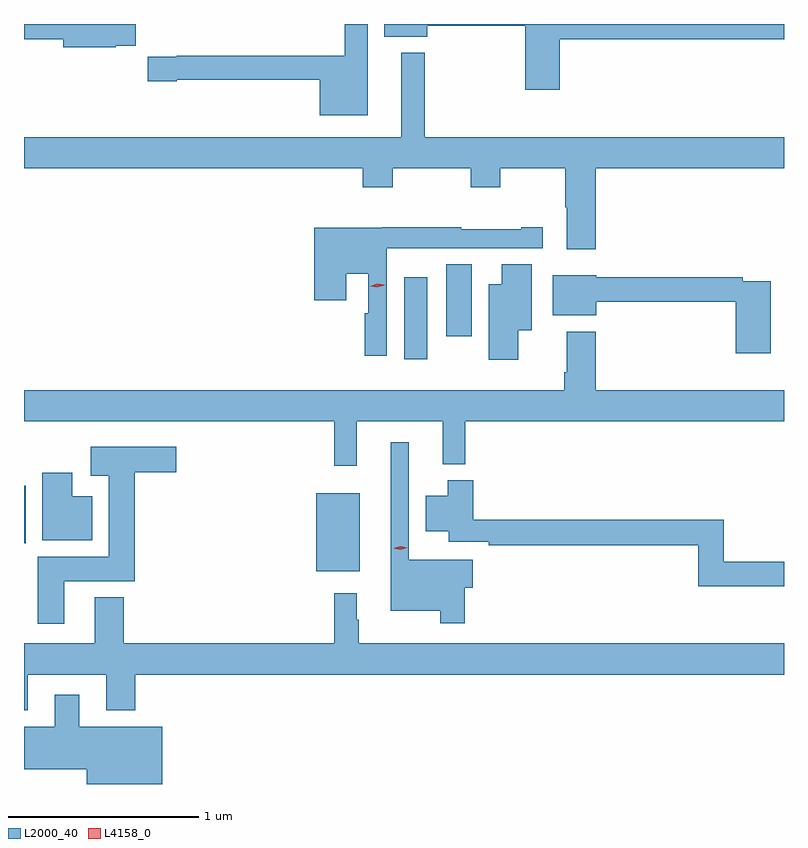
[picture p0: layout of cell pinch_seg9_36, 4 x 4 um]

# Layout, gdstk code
import gdstk
lib = gdstk.Library(unit=1e-6, precision=1e-09)
def R(c, l, rs):  # rectangles x0, y0, x1, y1
    for r in rs: c.add(gdstk.rectangle(r[:2], r[2:], *l))
def P(c, l, *ps):  # polygons
    for p in ps: c.add(gdstk.Polygon(p, *l))
L2000_40 = (2000, 40)
L4158_0 = (4158, 0)

pinch_seg9_36 = lib.new_cell('pinch_seg9_36')
R(pinch_seg9_36, L2000_40, [(911.486,1218.275,911.713,1218.685), (909.947,1218.422,909.955,1218.727), (911.948,1219.392,912.07,1219.822), (912.17,1219.512,912.304,1219.892)])
P(pinch_seg9_36, L2000_40, [(910.43,1221.042),(910.535,1221.042),(910.535,1221.156),(909.947,1221.156),(909.947,1221.076),(910.154,1221.076),(910.154,1221.034),(910.43,1221.034)],
  [(911.755,1221.156),(911.634,1221.156),(911.634,1220.99),(910.752,1220.99),(910.752,1220.984),(910.597,1220.984),(910.597,1220.854),(910.752,1220.854),(910.752,1220.862),(911.504,1220.862),(911.504,1220.675),(911.755,1220.675)],
  [(912.767,1221.076),(913.947,1221.076),(913.947,1221.156),(911.843,1221.156),(911.843,1221.089),(912.07,1221.089),(912.07,1221.148),(912.584,1221.148),(912.584,1220.811),(912.767,1220.811)],
  [(912.956,1220.396),(913.947,1220.396),(913.947,1220.56),(912.055,1220.56),(912.055,1221.004),(911.933,1221.004),(911.933,1220.56),(909.947,1220.56),(909.947,1220.396),(911.729,1220.396),(911.729,1220.297),(911.889,1220.297),(911.889,1220.396),(912.298,1220.396),(912.298,1220.297),(912.453,1220.297),(912.453,1220.396),(912.796,1220.396),(912.796,1220.192),(912.803,1220.192),(912.803,1219.971),(912.956,1219.971)],
  [(911.856,1219.976),(912.066,1219.976),(912.066,1219.977),(912.676,1219.977),(912.676,1220.086),(912.563,1220.086),(912.563,1220.076),(912.248,1220.076),(912.248,1220.086),(911.832,1220.086),(911.832,1220.083),(911.474,1220.083),(911.474,1219.701),(911.644,1219.701),(911.644,1219.841),(911.76,1219.841),(911.76,1219.634),(911.74,1219.634),(911.74,1219.41),(911.856,1219.41)],
  [(912.547,1219.544),(912.619,1219.544),(912.619,1219.892),(912.461,1219.892),(912.461,1219.786),(912.392,1219.786),(912.392,1219.389),(912.547,1219.389)],
  [(913.877,1219.803),(913.73,1219.803),(913.73,1219.823),(912.958,1219.823),(912.958,1219.834),(912.731,1219.834),(912.731,1219.622),(912.958,1219.622),(912.958,1219.695),(913.694,1219.695),(913.694,1219.422),(913.877,1219.422)],
  [(911.699,1219.064),(912.152,1219.064),(912.152,1218.839),(912.269,1218.839),(912.269,1219.064),(913.947,1219.064),(913.947,1219.228),(912.956,1219.228),(912.956,1219.537),(912.803,1219.537),(912.803,1219.324),(912.791,1219.324),(912.791,1219.228),(909.947,1219.228),(909.947,1219.064),(911.581,1219.064),(911.581,1218.831),(911.699,1218.831)],
  [(912.266,1218.19),(912.31,1218.19),(912.31,1218.337),(911.973,1218.337),(911.973,1218.955),(911.876,1218.955),(911.876,1218.068),(912.138,1218.068),(912.138,1218.003),(912.266,1218.003)],
  [(910.159,1218.224),(910.529,1218.224),(910.529,1218.797),(910.747,1218.797),(910.747,1218.931),(910.299,1218.931),(910.299,1218.779),(910.394,1218.779),(910.394,1218.352),(910.019,1218.352),(910.019,1218),(910.159,1218)],
  [(910.306,1218.67),(910.201,1218.67),(910.201,1218.793),(910.043,1218.793),(910.043,1218.44),(910.306,1218.44)],
  [(913.947,1218.326),(913.631,1218.326),(913.631,1218.548),(912.311,1218.548),(912.311,1218.754),(912.176,1218.754),(912.176,1218.673),(912.062,1218.673),(912.062,1218.485),(912.182,1218.485),(912.182,1218.432),(912.394,1218.432),(912.394,1218.412),(913.495,1218.412),(913.495,1218.198),(913.947,1218.198)],
  [(909.967,1217.732),(910.379,1217.732),(910.379,1217.543),(910.532,1217.543),(910.532,1217.732),(913.947,1217.732),(913.947,1217.896),(911.71,1217.896),(911.71,1218.02),(911.698,1218.02),(911.698,1218.16),(911.581,1218.16),(911.581,1217.896),(910.472,1217.896),(910.472,1218.139),(910.319,1218.139),(910.319,1217.896),(909.947,1217.896),(909.947,1217.543),(909.967,1217.543)],
  [(910.675,1217.458),(910.237,1217.458),(910.237,1217.626),(910.109,1217.626),(910.109,1217.458),(909.947,1217.458),(909.947,1217.234),(910.277,1217.234),(910.277,1217.156),(910.675,1217.156)])
P(pinch_seg9_36, L4158_0, [(911.928,1218.388),(911.892,1218.396),(911.892,1218.396),(911.892,1218.396),(911.927,1218.408),(911.963,1218.4),(911.963,1218.4),(911.963,1218.4)],
  [(911.807,1219.77),(911.77,1219.777),(911.77,1219.777),(911.77,1219.777),(911.805,1219.79),(911.842,1219.783),(911.842,1219.783),(911.842,1219.782)])

lib.write_gds('pinch_seg9_36.gds')
